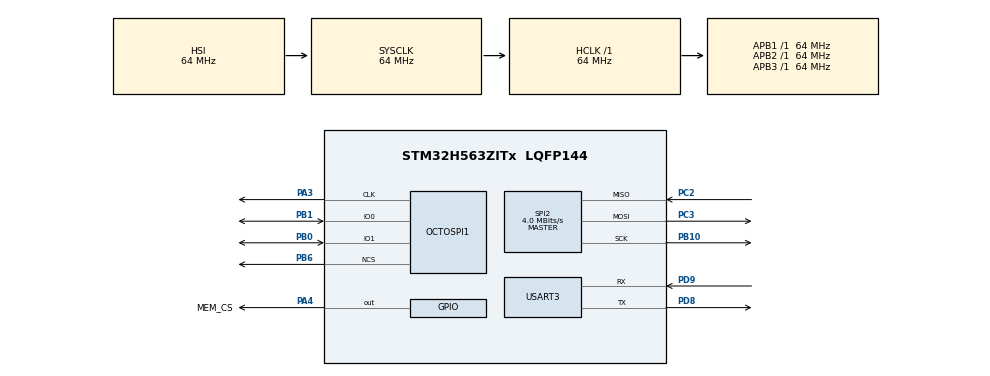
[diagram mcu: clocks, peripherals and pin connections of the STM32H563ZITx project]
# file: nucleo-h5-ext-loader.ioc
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BOOTPATH.BootPathName=LEGACY
BOOTPATH.UserSelectedBootPath=LEGACY
CORTEX_M33_NS.userName=CORTEX_M33
Mcu.Family=STM32H5
Mcu.Name=STM32H563ZITx
Mcu.Package=LQFP144
Mcu.UserConstants=FLASH_SPI,hspi2;UART_DEBUG,huart3
NVIC.PriorityGroup=NVIC_PRIORITYGROUP_4
OCTOSPI1.ClockPrescaler=16
OCTOSPI1.DeviceType=SPI_DEVICE_FLASH
OCTOSPI1.FifoThresholdByte=4
OCTOSPI1.MemorySize=HAL_XSPI_SIZE_256MB
OCTOSPI1.MemoryType=HAL_XSPI_MEMTYPE_MICRON
PA13(JTMS/SWDIO).Mode=Serial_Wire
PA13(JTMS/SWDIO).Signal=DEBUG_JTMS-SWDIO
PA14(JTCK/SWCLK).Mode=Serial_Wire
PA14(JTCK/SWCLK).Signal=DEBUG_JTCK-SWCLK
PA3.Mode=single_mode
PA3.Signal=OCTOSPI1_CLK
PA4.GPIO_Label=MEM_CS
PA4.GPIO_ModeDefaultOutputPP=GPIO_MODE_OUTPUT_PP
PA4.GPIO_PuPd=GPIO_NOPULL
PA4.GPIO_Speed=GPIO_SPEED_FREQ_HIGH
PA4.PinState=GPIO_PIN_SET
PA4.Signal=GPIO_Output
PB0.Mode=OCTOSPI1_IO[1\:0]
PB0.Signal=OCTOSPI1_IO1
PB1.Mode=OCTOSPI1_IO[1\:0]
PB1.Signal=OCTOSPI1_IO0
PB10.Mode=Full_Duplex_Master
PB10.Signal=SPI2_SCK
PB3(JTDO/TRACESWO).Signal=UART7_RX
PB4(NJTRST).Signal=UART7_TX
PB6.GPIO_Mode=GPIO_MODE_AF_PP
PB6.GPIO_PuPd=GPIO_PULLUP
PB6.Mode=single_mode
PB6.Signal=OCTOSPI1_NCS
PC14-OSC32_IN(OSC32_IN).Mode=LSE-External-Oscillator
PC14-OSC32_IN(OSC32_IN).Signal=RCC_OSC32_IN
PC15-OSC32_OUT(OSC32_OUT).Mode=LSE-External-Oscillator
PC15-OSC32_OUT(OSC32_OUT).Signal=RCC_OSC32_OUT
PC2.Mode=Full_Duplex_Master
PC2.Signal=SPI2_MISO
PC3.Mode=Full_Duplex_Master
PC3.Signal=SPI2_MOSI
PD8.Mode=Asynchronous
PD8.Signal=USART3_TX
PD9.Mode=Asynchronous
PD9.Signal=USART3_RX
PH0-OSC_IN(PH0).Mode=HSE-External-Oscillator
PH0-OSC_IN(PH0).Signal=RCC_OSC_IN
PH1-OSC_OUT(PH1).Mode=HSE-External-Oscillator
PH1-OSC_OUT(PH1).Signal=RCC_OSC_OUT
ProjectManager.HeapSize=0x200
ProjectManager.StackSize=0x400
ProjectManager.TargetToolchain=STM32CubeIDE
RCC.ADCFreq_Value=64000000
RCC.AHBFreq_Value=64000000
RCC.APB1Freq_Value=64000000
RCC.APB1TimFreq_Value=64000000
RCC.APB2Freq_Value=64000000
RCC.APB2TimFreq_Value=64000000
RCC.APB3Freq_Value=64000000
RCC.CSI_VALUE=4000000
RCC.CortexFreq_Value=64000000
RCC.EPOD_VALUE=4000000
RCC.HCLKFreq_Value=64000000
RCC.HSE_VALUE=25000000
RCC.HSI48_VALUE=48000000
RCC.HSIDiv=RCC_HSI_DIV1
RCC.HSI_VALUE=64000000
RCC.LSIRC_VALUE=32000
RCC.PLL1P=10
RCC.PLL2FRACN=0
RCC.PLL3FRACN=0
RCC.PLLFRACN=0
RCC.PLLN=32
RCC.SYSCLKFreq_VALUE=64000000
RCC.USBFreq_Value=48000000
RCC.VCOOutputFreq_Value=128000000
SPI2.BaudRatePrescaler=SPI_BAUDRATEPRESCALER_16
SPI2.CLKPhase=SPI_PHASE_1EDGE
SPI2.CalculateBaudRate=4.0 MBits/s
SPI2.DataSize=SPI_DATASIZE_8BIT
SPI2.Direction=SPI_DIRECTION_2LINES
SPI2.Mode=SPI_MODE_MASTER
SPI2.NSSPMode=SPI_NSS_PULSE_DISABLE
SPI2.VirtualType=VM_MASTER
USART3.VirtualMode-Asynchronous=VM_ASYNC
VP_BOOTPATH_VS_BOOTPATH.Mode=BP_Activate
VP_CORTEX_M33_NS_VS_Hclk.Mode=Hclk_Mode
VP_ICACHE_VS_ICACHE.Mode=DefaultMode
VP_MEMORYMAP_VS_MEMORYMAP.Mode=CurAppReg
VP_PWR_VS_DBSignals.Mode=DisableDeadBatterySignals
VP_PWR_VS_LPOM.Mode=PowerOptimisation
VP_PWR_VS_SECSignals.Mode=Security/Privilege
board=custom

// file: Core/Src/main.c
/* USER CODE BEGIN Header */
/**
 ******************************************************************************
 * @file           : main.c
 * @brief          : Main program body
 ******************************************************************************
 * @attention
 *
 * Copyright (c) 2024 STMicroelectronics.
 * All rights reserved.
 *
 * This software is licensed under terms that can be found in the LICENSE file
 * in the root directory of this software component.
 * If no LICENSE file comes with this software, it is provided AS-IS.
 *
 ******************************************************************************
 */
/* USER CODE END Header */
#include "main.h"
#include "icache.h"
#include "memorymap.h"
#include "octospi.h"
#include "spi.h"
#include "usart.h"
#include "gpio.h"

/* USER CODE BEGIN Includes */
#include "flash_s25flxxxl.h"
#include <stdio.h>
#include <string.h>
/* USER CODE END Includes */

/* USER CODE BEGIN PM */
#if defined(__ICCARM__)
size_t __write(int file, unsigned char const* ptr, size_t len);
/* New definition from EWARM V9, compatible with EWARM8 */
int iar_fputc(int ch);
#define PUTCHAR_PROTOTYPE int iar_fputc(int ch)
#elif defined(__CC_ARM) || defined(__ARMCC_VERSION)
/* ARM Compiler 5/6*/
#define PUTCHAR_PROTOTYPE int fputc(int ch, FILE* f)
#define GETCHAR_PROTOTYPE int fgetc(FILE* f)
#elif defined(__GNUC__)
#define PUTCHAR_PROTOTYPE int __io_putchar(int ch)
#define GETCHAR_PROTOTYPE int __io_getchar(void)
#endif /* __ICCARM__ */
/* USER CODE END PM */

/* USER CODE BEGIN PV */
static FLASH_S25FL_t flash_ctx;
/* USER CODE END PV */

void SystemClock_Config(void);

int main(void)
{

  /* MCU Configuration--------------------------------------------------------*/

  /* Reset of all peripherals, Initializes the Flash interface and the Systick. */
  HAL_Init();

  /* Configure the system clock */
  SystemClock_Config();

  /* Initialize all configured peripherals */
  MX_GPIO_Init();
  MX_ICACHE_Init();
  MX_OCTOSPI1_Init();
  MX_USART3_UART_Init();
  MX_SPI2_Init();
  /* USER CODE BEGIN 2 */

    printf("%s(), Loader started\r\n", __func__);

    int ret = Flash_S25FLXXXL_init(&flash_ctx);
    printf("%s(), The FLASH initialization was %d\r\n", __func__, ret);

    uint8_t  data[100] = {0};
    uint32_t n_bytes   = sizeof(data);

    ret = Flash_S25FLXXXL_read_data(&flash_ctx, 0, n_bytes, data);
    printf("The FLASH read operation result was 0x%04x, data=%50x\r\n", ret, data);

  /* USER CODE END 2 */

  /* Infinite loop */
    while (1)
    {

    }
}

void SystemClock_Config(void)
{
  RCC_OscInitTypeDef RCC_OscInitStruct = {0};
  RCC_ClkInitTypeDef RCC_ClkInitStruct = {0};

  /** Configure the main internal regulator output voltage
  */
  __HAL_PWR_VOLTAGESCALING_CONFIG(PWR_REGULATOR_VOLTAGE_SCALE3);

  while(!__HAL_PWR_GET_FLAG(PWR_FLAG_VOSRDY)) {}

  /** Initializes the RCC Oscillators according to the specified parameters
  * in the RCC_OscInitTypeDef structure.
  */
  RCC_OscInitStruct.OscillatorType = RCC_OSCILLATORTYPE_HSI|RCC_OSCILLATORTYPE_CSI;
  RCC_OscInitStruct.HSIState = RCC_HSI_ON;
  RCC_OscInitStruct.HSIDiv = RCC_HSI_DIV1;
  RCC_OscInitStruct.HSICalibrationValue = RCC_HSICALIBRATION_DEFAULT;
  RCC_OscInitStruct.CSIState = RCC_CSI_ON;
  RCC_OscInitStruct.CSICalibrationValue = RCC_CSICALIBRATION_DEFAULT;
  RCC_OscInitStruct.PLL.PLLState = RCC_PLL_ON;
  RCC_OscInitStruct.PLL.PLLSource = RCC_PLL1_SOURCE_CSI;
  RCC_OscInitStruct.PLL.PLLM = 1;
  RCC_OscInitStruct.PLL.PLLN = 32;
  RCC_OscInitStruct.PLL.PLLP = 10;
  RCC_OscInitStruct.PLL.PLLQ = 2;
  RCC_OscInitStruct.PLL.PLLR = 2;
  RCC_OscInitStruct.PLL.PLLRGE = RCC_PLL1_VCIRANGE_2;
  RCC_OscInitStruct.PLL.PLLVCOSEL = RCC_PLL1_VCORANGE_WIDE;
  RCC_OscInitStruct.PLL.PLLFRACN = 0;
  if (HAL_RCC_OscConfig(&RCC_OscInitStruct) != HAL_OK)
  {
    Error_Handler();
  }

  /** Initializes the CPU, AHB and APB buses clocks
  */
  RCC_ClkInitStruct.ClockType = RCC_CLOCKTYPE_HCLK|RCC_CLOCKTYPE_SYSCLK
                              |RCC_CLOCKTYPE_PCLK1|RCC_CLOCKTYPE_PCLK2
                              |RCC_CLOCKTYPE_PCLK3;
  RCC_ClkInitStruct.SYSCLKSource = RCC_SYSCLKSOURCE_HSI;
  RCC_ClkInitStruct.AHBCLKDivider = RCC_SYSCLK_DIV1;
  RCC_ClkInitStruct.APB1CLKDivider = RCC_HCLK_DIV1;
  RCC_ClkInitStruct.APB2CLKDivider = RCC_HCLK_DIV1;
  RCC_ClkInitStruct.APB3CLKDivider = RCC_HCLK_DIV1;

  if (HAL_RCC_ClockConfig(&RCC_ClkInitStruct, FLASH_LATENCY_3) != HAL_OK)
  {
    Error_Handler();
  }

  /** Configure the programming delay
  */
  __HAL_FLASH_SET_PROGRAM_DELAY(FLASH_PROGRAMMING_DELAY_1);
}

/* USER CODE BEGIN 4 */

/**
 * @brief  Retargets the C library printf function to the USART.
 * @param  None
 * @retval None
 */

PUTCHAR_PROTOTYPE
{
    HAL_UART_Transmit(&UART_DEBUG, (uint8_t*)&ch, 1, HAL_MAX_DELAY);
    return ch;
}

GETCHAR_PROTOTYPE
{
    uint8_t ch = 0;
    __HAL_UART_CLEAR_OREFLAG(&UART_DEBUG);
    HAL_UART_Receive(&UART_DEBUG, (uint8_t*)&ch, 1, HAL_MAX_DELAY);
    return ch;
}

/* USER CODE END 4 */

void Error_Handler(void)
{
    __disable_irq();
    while (1)
    {
    }
}
